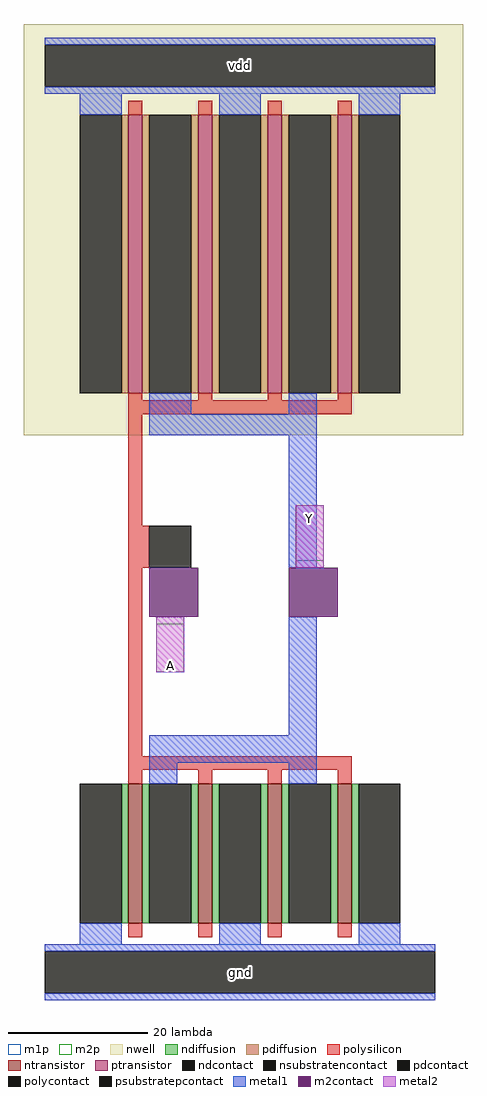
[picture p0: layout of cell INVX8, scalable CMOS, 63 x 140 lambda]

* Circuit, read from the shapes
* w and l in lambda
.subckt INVX8 A Y vdd gnd
M1 Y A gnd gnd nfet w=20 l=2 m=4
M2 Y A vdd vdd pfet w=40 l=2 m=4
.ends

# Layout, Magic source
magic
tech scmos
<< nwell >>
rect -6 77 57 136
<< ntransistor >>
rect 9 7 11 27
rect 19 7 21 27
rect 29 7 31 27
rect 39 7 41 27
<< ptransistor >>
rect 9 83 11 123
rect 19 83 21 123
rect 29 83 31 123
rect 39 83 41 123
<< ndiffusion >>
rect 8 7 9 27
rect 11 7 12 27
rect 18 7 19 27
rect 21 7 22 27
rect 28 7 29 27
rect 31 7 32 27
rect 38 7 39 27
rect 41 7 42 27
<< pdiffusion >>
rect 8 83 9 123
rect 11 83 12 123
rect 18 83 19 123
rect 21 83 22 123
rect 28 83 29 123
rect 31 83 32 123
rect 38 83 39 123
rect 41 83 42 123
<< ndcontact >>
rect 2 7 8 27
rect 12 7 18 27
rect 22 7 28 27
rect 32 7 38 27
rect 42 7 48 27
<< pdcontact >>
rect 2 83 8 123
rect 12 83 18 123
rect 22 83 28 123
rect 32 83 38 123
rect 42 83 48 123
<< psubstratepcontact >>
rect -3 -3 53 3
<< nsubstratencontact >>
rect -3 127 53 133
<< polysilicon >>
rect 9 123 11 125
rect 19 123 21 125
rect 29 123 31 125
rect 39 123 41 125
rect 9 82 11 83
rect 19 82 21 83
rect 29 82 31 83
rect 39 82 41 83
rect 9 80 41 82
rect 9 64 11 80
rect 9 58 12 64
rect 9 31 11 58
rect 9 29 41 31
rect 9 27 11 29
rect 19 27 21 29
rect 29 27 31 29
rect 39 27 41 29
rect 9 5 11 7
rect 19 5 21 7
rect 29 5 31 7
rect 39 5 41 7
<< polycontact >>
rect 12 58 18 64
<< metal1 >>
rect -3 133 53 134
rect -3 126 53 127
rect 2 123 8 126
rect 22 123 28 126
rect 42 123 48 126
rect 12 80 18 83
rect 32 80 36 83
rect 12 77 36 80
rect 32 58 36 77
rect 32 34 36 51
rect 12 30 36 34
rect 12 27 16 30
rect 32 27 36 30
rect 2 4 8 7
rect 22 4 28 7
rect 42 4 48 7
rect -3 3 53 4
rect -3 -4 53 -3
<< m2contact >>
rect 12 51 19 58
rect 32 51 39 58
<< metal2 >>
rect 33 58 37 67
rect 13 43 17 51
<< m1p >>
rect -3 126 53 134
rect -3 -4 53 4
<< m2p >>
rect 33 59 37 67
rect 13 43 17 50
<< labels >>
rlabel metal2 15 44 15 44 1 A
port 1 n signal input
rlabel metal2 35 65 35 65 1 Y
port 2 n signal output
rlabel metal1 -3 126 53 134 0 vdd
port 3 nsew power bidirectional abutment
rlabel metal1 -3 -4 53 4 0 gnd
port 4 nsew ground bidirectional abutment
<< properties >>
string FIXED_BBOX 0 0 50 130
string LEFclass CORE
string LEFsite core
string LEFsymmetry X Y
<< end >>
